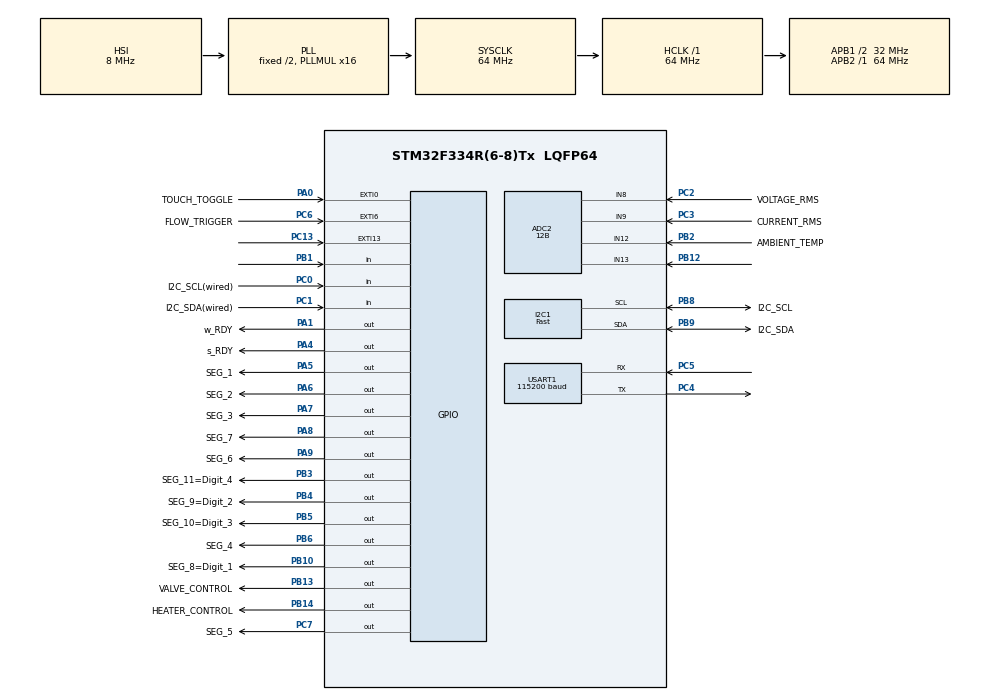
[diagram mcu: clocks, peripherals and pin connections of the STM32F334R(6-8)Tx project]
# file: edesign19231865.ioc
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ADC2.Channel-0\#ChannelRegularConversion=ADC_CHANNEL_8
ADC2.Channel-7\#ChannelRegularConversion=ADC_CHANNEL_9
ADC2.Channel-8\#ChannelRegularConversion=ADC_CHANNEL_12
ADC2.Channel-9\#ChannelRegularConversion=ADC_CHANNEL_13
ADC2.ClockPrescaler=ADC_CLOCK_ASYNC_DIV1
ADC2.ContinuousConvMode=ENABLE
ADC2.DMAContinuousRequests=ENABLE
ADC2.DataAlign=ADC_DATAALIGN_RIGHT
ADC2.DiscontinuousConvMode=DISABLE
ADC2.EOCSelection=ADC_EOC_SINGLE_CONV
ADC2.EnableAnalogWatchDog1=false
ADC2.EnableAnalogWatchDog2=false
ADC2.EnableAnalogWatchDog3=false
ADC2.EnableInjectedConversion=ENABLE
ADC2.EnableRegularConversion=ENABLE
ADC2.ExternalTrigConv=ADC_SOFTWARE_START
ADC2.ExternalTrigConvEdge=ADC_EXTERNALTRIGCONVEDGE_NONE
ADC2.InjNumberOfConversion=0
ADC2.LowPowerAutoWait=DISABLE
ADC2.Mode=ADC_MODE_INDEPENDENT
ADC2.NbrOfConversion=4
ADC2.NbrOfConversionFlag=1
ADC2.Offset-0\#ChannelRegularConversion=0
ADC2.Offset-7\#ChannelRegularConversion=0
ADC2.Offset-8\#ChannelRegularConversion=0
ADC2.Offset-9\#ChannelRegularConversion=0
ADC2.OffsetNumber-0\#ChannelRegularConversion=ADC_OFFSET_NONE
ADC2.OffsetNumber-7\#ChannelRegularConversion=ADC_OFFSET_NONE
ADC2.OffsetNumber-8\#ChannelRegularConversion=ADC_OFFSET_NONE
ADC2.OffsetNumber-9\#ChannelRegularConversion=ADC_OFFSET_NONE
ADC2.Overrun=ADC_OVR_DATA_PRESERVED
ADC2.Rank-0\#ChannelRegularConversion=1
ADC2.Rank-7\#ChannelRegularConversion=2
ADC2.Rank-8\#ChannelRegularConversion=3
ADC2.Rank-9\#ChannelRegularConversion=4
ADC2.Resolution=ADC_RESOLUTION_12B
ADC2.SamplingTime-0\#ChannelRegularConversion=ADC_SAMPLETIME_181CYCLES_5
ADC2.SamplingTime-7\#ChannelRegularConversion=ADC_SAMPLETIME_181CYCLES_5
ADC2.SamplingTime-8\#ChannelRegularConversion=ADC_SAMPLETIME_181CYCLES_5
ADC2.SamplingTime-9\#ChannelRegularConversion=ADC_SAMPLETIME_181CYCLES_5
ADC2.ScanConvMode=ADC_SCAN_ENABLE
ADC2.SubFamily=STM32F334x8
Dma.ADC2.0.Direction=DMA_PERIPH_TO_MEMORY
Dma.ADC2.0.Instance=DMA1_Channel2
Dma.ADC2.0.MemDataAlignment=DMA_MDATAALIGN_WORD
Dma.ADC2.0.MemInc=DMA_MINC_ENABLE
Dma.ADC2.0.Mode=DMA_CIRCULAR
Dma.ADC2.0.PeriphDataAlignment=DMA_PDATAALIGN_WORD
Dma.ADC2.0.PeriphInc=DMA_PINC_DISABLE
Dma.ADC2.0.Priority=DMA_PRIORITY_LOW
Dma.Request0=ADC2
I2C1.I2C_Speed_Mode=I2C_Fast
I2C1.Timing=0x0000020B
Mcu.Family=STM32F3
Mcu.Name=STM32F334R(6-8)Tx
Mcu.Package=LQFP64
NVIC.DMA1_Channel2_IRQn=true\:0\:1\:false\:false\:true\:false
NVIC.EXTI0_IRQn=true\:0\:0\:false\:false\:true\:true
NVIC.EXTI9_5_IRQn=true\:0\:1\:false\:false\:true\:true
NVIC.I2C1_ER_IRQn=true\:0\:0\:false\:false\:true\:true
NVIC.I2C1_EV_IRQn=true\:0\:0\:false\:false\:true\:true
NVIC.PriorityGroup=NVIC_PRIORITYGROUP_0
NVIC.RTC_WKUP_IRQn=true\:0\:0\:false\:false\:true\:true
NVIC.USART1_IRQn=true\:0\:0\:false\:false\:true\:true
PA0.GPIO_Label=TOUCH_TOGGLE
PA0.GPIO_ModeDefaultEXTI=GPIO_MODE_IT_FALLING
PA0.GPIO_PuPd=GPIO_PULLDOWN
PA0.Signal=GPXTI0
PA1.GPIO_Label=w_RDY
PA1.GPIO_ModeDefaultOutputPP=GPIO_MODE_OUTPUT_OD
PA1.GPIO_PuPd=GPIO_PULLUP
PA1.PinState=GPIO_PIN_SET
PA1.Signal=GPIO_Output
PA13.Mode=Serial_Wire
PA13.Signal=SYS_JTMS-SWDIO
PA14.Mode=Serial_Wire
PA14.Signal=SYS_JTCK-SWCLK
PA4.GPIO_Label=s_RDY
PA4.GPIO_ModeDefaultOutputPP=GPIO_MODE_OUTPUT_OD
PA4.GPIO_PuPd=GPIO_PULLUP
PA4.PinState=GPIO_PIN_SET
PA4.Signal=GPIO_Output
PA5.GPIO_Label=SEG_1
PA5.Signal=GPIO_Output
PA6.GPIO_Label=SEG_2
PA6.Signal=GPIO_Output
PA7.GPIO_Label=SEG_3
PA7.Signal=GPIO_Output
PA8.GPIO_Label=SEG_7
PA8.Signal=GPIO_Output
PA9.GPIO_Label=SEG_6
PA9.Signal=GPIO_Output
PB1.Signal=GPIO_Input
PB10.GPIO_Label=SEG_8\=Digit_1
PB10.Signal=GPIO_Output
PB12.Mode=IN13-Single-Ended
PB12.Signal=ADC2_IN13
PB13.GPIO_Label=VALVE_CONTROL
PB13.Signal=GPIO_Output
PB14.GPIO_Label=HEATER_CONTROL
PB14.Signal=GPIO_Output
PB2.GPIO_Label=AMBIENT_TEMP
PB2.Mode=IN12-Single-Ended
PB2.Signal=ADC2_IN12
PB3.GPIO_Label=SEG_11\=Digit_4
PB3.Signal=GPIO_Output
PB4.GPIO_Label=SEG_9\=Digit_2
PB4.Signal=GPIO_Output
PB5.GPIO_Label=SEG_10\=Digit_3
PB5.Signal=GPIO_Output
PB6.GPIO_Label=SEG_4
PB6.Signal=GPIO_Output
PB8.GPIO_Label=I2C_SCL
PB8.GPIO_PuPdOD=GPIO_NOPULL
PB8.Mode=I2C
PB8.Signal=I2C1_SCL
PB9.GPIO_Label=I2C_SDA
PB9.GPIO_PuPdOD=GPIO_NOPULL
PB9.Mode=I2C
PB9.Signal=I2C1_SDA
PC0.GPIO_Label=I2C_SCL(wired)
PC0.Signal=GPIO_Input
PC1.GPIO_Label=I2C_SDA(wired)
PC1.Signal=GPIO_Input
PC13.GPIO_ModeDefaultEXTI=GPIO_MODE_IT_RISING
PC13.GPIO_PuPd=GPIO_NOPULL
PC13.Signal=GPXTI13
PC14\ /\ OSC32_IN.Mode=LSE-External-Oscillator
PC14\ /\ OSC32_IN.Signal=RCC_OSC32_IN
PC15\ /\ OSC32_OUT.Mode=LSE-External-Oscillator
PC15\ /\ OSC32_OUT.Signal=RCC_OSC32_OUT
PC2.GPIO_Label=VOLTAGE_RMS
PC2.Signal=ADCx_IN8
PC3.GPIO_Label=CURRENT_RMS
PC3.Signal=ADCx_IN9
PC4.Mode=Asynchronous
PC4.Signal=USART1_TX
PC5.Mode=Asynchronous
PC5.Signal=USART1_RX
PC6.GPIO_Label=FLOW_TRIGGER
PC6.GPIO_ModeDefaultEXTI=GPIO_MODE_IT_RISING_FALLING
PC6.GPIO_PuPd=GPIO_PULLDOWN
PC6.Signal=GPXTI6
PC7.GPIO_Label=SEG_5
PC7.Signal=GPIO_Output
PF0\ /\ OSC_IN.Mode=HSE-External-Clock-Source
PF0\ /\ OSC_IN.Signal=RCC_OSC_IN
PF1\ /\ OSC_OUT.Signal=RCC_OSC_OUT
ProjectManager.HeapSize=0x200
ProjectManager.StackSize=0x400
ProjectManager.TargetToolchain=TrueSTUDIO
RCC.ADC12PRES=RCC_ADC12PLLCLK_DIV256
RCC.AHBFreq_Value=64000000
RCC.APB1CLKDivider=RCC_HCLK_DIV2
RCC.APB1Freq_Value=32000000
RCC.APB1TimFreq_Value=64000000
RCC.APB2Freq_Value=64000000
RCC.APB2TimFreq_Value=64000000
RCC.CortexFreq_Value=64000000
RCC.FLatency-AdvancedSettings=FLASH_LATENCY_2
RCC.HCLKFreq_Value=64000000
RCC.HSE_VALUE=8000000
RCC.HSI_VALUE=8000000
RCC.PLLMUL=RCC_PLL_MUL16
RCC.RTCClockSelection=RCC_RTCCLKSOURCE_LSE
RCC.SYSCLKFreq_VALUE=64000000
RCC.SYSCLKSourceVirtual=RCC_SYSCLKSOURCE_PLLCLK
RTC.WakeUpCounter-WakeUp=2048
SH.ADCx_IN8.0=ADC2_IN8,IN8-Single-Ended
SH.ADCx_IN9.0=ADC2_IN9,IN9-Single-Ended
USART1.BaudRate=115200
USART1.VirtualMode-Asynchronous=VM_ASYNC
USART1.WordLength=WORDLENGTH_8B
VP_RTC_VS_RTC_Activate.Mode=RTC_Enabled
VP_RTC_VS_RTC_Calendar.Mode=RTC_Calendar
VP_RTC_VS_RTC_WakeUp_intern.Mode=WakeUp
board=NUCLEO-F334R8

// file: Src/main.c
/**
  ******************************************************************************
  * @file           : main.c
  * @brief          : Main program body
  ******************************************************************************
  ** This notice applies to any and all portions of this file
  * that are not between comment pairs USER CODE BEGIN and
  * USER CODE END. Other portions of this file, whether
  * inserted by the user or by software development tools
  * are owned by their respective copyright owners.
  *
  * COPYRIGHT(c) 2018 STMicroelectronics
  *
  * Redistribution and use in source and binary forms, with or without modification,
  * are permitted provided that the following conditions are met:
  *   1. Redistributions of source code must retain the above copyright notice,
  *      this list of conditions and the following disclaimer.
  *   2. Redistributions in binary form must reproduce the above copyright notice,
  *      this list of conditions and the following disclaimer in the documentation
  *      and/or other materials provided with the distribution.
  *   3. Neither the name of STMicroelectronics nor the names of its contributors
  *      may be used to endorse or promote products derived from this software
  *      without specific prior written permission.
  *
  * THIS SOFTWARE IS PROVIDED BY THE COPYRIGHT HOLDERS AND CONTRIBUTORS "AS IS"
  * AND ANY EXPRESS OR IMPLIED WARRANTIES, INCLUDING, BUT NOT LIMITED TO, THE
  * IMPLIED WARRANTIES OF MERCHANTABILITY AND FITNESS FOR A PARTICULAR PURPOSE ARE
  * DISCLAIMED. IN NO EVENT SHALL THE COPYRIGHT HOLDER OR CONTRIBUTORS BE LIABLE
  * FOR ANY DIRECT, INDIRECT, INCIDENTAL, SPECIAL, EXEMPLARY, OR CONSEQUENTIAL
  * DAMAGES (INCLUDING, BUT NOT LIMITED TO, PROCUREMENT OF SUBSTITUTE GOODS OR
  * SERVICES; LOSS OF USE, DATA, OR PROFITS; OR BUSINESS INTERRUPTION) HOWEVER
  * CAUSED AND ON ANY THEORY OF LIABILITY, WHETHER IN CONTRACT, STRICT LIABILITY,
  * OR TORT (INCLUDING NEGLIGENCE OR OTHERWISE) ARISING IN ANY WAY OUT OF THE USE
  * OF THIS SOFTWARE, EVEN IF ADVISED OF THE POSSIBILITY OF SUCH DAMAGE.
  *
  ******************************************************************************
  */
#include "main.h"
#include "stm32f3xx_hal.h"

/* USER CODE BEGIN Includes */
//#include <stdlib.h>
//#include "functions.h"
#include "functions.h"
#include "variables.h"
/* USER CODE END Includes */

ADC_HandleTypeDef hadc2;
DMA_HandleTypeDef hdma_adc2;

I2C_HandleTypeDef hi2c1;

RTC_HandleTypeDef hrtc;

UART_HandleTypeDef huart1;

/* USER CODE BEGIN PV */
/* Private variables ---------------------------------------------------------*/
ADC_ChannelConfTypeDef Channel_1;
ADC_ChannelConfTypeDef Channel_2;
ADC_ChannelConfTypeDef Channel_3;
ADC_ChannelConfTypeDef Channel_4;
extern uint32_t uwTick;

/* USER CODE END PV */

void SystemClock_Config(void);
static void MX_GPIO_Init(void);
static void MX_DMA_Init(void);
static void MX_USART1_UART_Init(void);
static void MX_ADC2_Init(void);
static void MX_RTC_Init(void);
static void MX_I2C1_Init(void);

/* USER CODE BEGIN PFP */
/* Private function prototypes -----------------------------------------------*/

/* USER CODE END PFP */

/* USER CODE BEGIN 0 */

//uint8_t* tim = (uint8_t) malloc(4);
/* USER CODE END 0 */

int main(void)
{
  /* USER CODE BEGIN 1 */
//	HAL_StatusTypeDef result;
  /* USER CODE END 1 */

  /* MCU Configuration----------------------------------------------------------*/

  /* Reset of all peripherals, Initializes the Flash interface and the Systick. */
  HAL_Init();

  /* Configure the system clock */
  SystemClock_Config();

  /* Initialize all configured peripherals */
  MX_GPIO_Init();
  MX_DMA_Init();
  MX_USART1_UART_Init();
  MX_ADC2_Init();
  MX_RTC_Init();
  MX_I2C1_Init();
  /* USER CODE BEGIN 2 */
  int erase_flash = 1;
  HAL_ADCEx_Calibration_Start(&hadc2, ADC_SINGLE_ENDED);

  init_peripherals();
  HAL_UART_Receive_IT(&huart1, (uint8_t*)&rx_buffer, 1);
 HAL_ADC_Start_DMA(&hadc2, ADC1_buffer, 4);

 if(erase_flash==0){
	HAL_FLASH_Unlock();
	pEraseInit->NbPages = 5;
	pEraseInit->PageAddress = (uint32_t)(0x08009000);
	pEraseInit->TypeErase = (uint32_t)FLASH_TYPEERASE_PAGES;

	HAL_FLASHEx_Erase(pEraseInit,flash_error);
	HAL_FLASH_Lock();
 }
 	 HAL_RTC_GetTime(&hrtc,timeOfRTC,RTC_FORMAT_BIN);
 	 HAL_RTC_GetDate(&hrtc,date,RTC_FORMAT_BIN);

//  int i2c_state = init_iqs263();
  logPosition();

  /* USER CODE END 2 */

  /* Infinite loop */
  while (1)
  {

  /* USER CODE BEGIN 3 */
	  mainLoop();
  }
  /* USER CODE END 3 */

}

void SystemClock_Config(void)
{

  RCC_OscInitTypeDef RCC_OscInitStruct;
  RCC_ClkInitTypeDef RCC_ClkInitStruct;
  RCC_PeriphCLKInitTypeDef PeriphClkInit;

    /**Configure LSE Drive Capability
    */
  HAL_PWR_EnableBkUpAccess();

  __HAL_RCC_LSEDRIVE_CONFIG(RCC_LSEDRIVE_LOW);

    /**Initializes the CPU, AHB and APB busses clocks
    */
  RCC_OscInitStruct.OscillatorType = RCC_OSCILLATORTYPE_HSI|RCC_OSCILLATORTYPE_LSE;
  RCC_OscInitStruct.LSEState = RCC_LSE_ON;
  RCC_OscInitStruct.HSIState = RCC_HSI_ON;
  RCC_OscInitStruct.HSICalibrationValue = 16;
  RCC_OscInitStruct.PLL.PLLState = RCC_PLL_ON;
  RCC_OscInitStruct.PLL.PLLSource = RCC_PLLSOURCE_HSI;
  RCC_OscInitStruct.PLL.PLLMUL = RCC_PLL_MUL16;
  if (HAL_RCC_OscConfig(&RCC_OscInitStruct) != HAL_OK)
  {
    _Error_Handler(__FILE__, __LINE__);
  }

    /**Initializes the CPU, AHB and APB busses clocks
    */
  RCC_ClkInitStruct.ClockType = RCC_CLOCKTYPE_HCLK|RCC_CLOCKTYPE_SYSCLK
                              |RCC_CLOCKTYPE_PCLK1|RCC_CLOCKTYPE_PCLK2;
  RCC_ClkInitStruct.SYSCLKSource = RCC_SYSCLKSOURCE_PLLCLK;
  RCC_ClkInitStruct.AHBCLKDivider = RCC_SYSCLK_DIV1;
  RCC_ClkInitStruct.APB1CLKDivider = RCC_HCLK_DIV2;
  RCC_ClkInitStruct.APB2CLKDivider = RCC_HCLK_DIV1;

  if (HAL_RCC_ClockConfig(&RCC_ClkInitStruct, FLASH_LATENCY_2) != HAL_OK)
  {
    _Error_Handler(__FILE__, __LINE__);
  }

  PeriphClkInit.PeriphClockSelection = RCC_PERIPHCLK_USART1|RCC_PERIPHCLK_I2C1
                              |RCC_PERIPHCLK_RTC|RCC_PERIPHCLK_ADC12;
  PeriphClkInit.Usart1ClockSelection = RCC_USART1CLKSOURCE_PCLK1;
  PeriphClkInit.Adc12ClockSelection = RCC_ADC12PLLCLK_DIV256;
  PeriphClkInit.I2c1ClockSelection = RCC_I2C1CLKSOURCE_HSI;
  PeriphClkInit.RTCClockSelection = RCC_RTCCLKSOURCE_LSE;
  if (HAL_RCCEx_PeriphCLKConfig(&PeriphClkInit) != HAL_OK)
  {
    _Error_Handler(__FILE__, __LINE__);
  }

    /**Configure the Systick interrupt time
    */
  HAL_SYSTICK_Config(HAL_RCC_GetHCLKFreq()/1000);

    /**Configure the Systick
    */
  HAL_SYSTICK_CLKSourceConfig(SYSTICK_CLKSOURCE_HCLK);

  /* SysTick_IRQn interrupt configuration */
  HAL_NVIC_SetPriority(SysTick_IRQn, 0, 2);
}

/* ADC2 init function */
static void MX_ADC2_Init(void)
{

  ADC_ChannelConfTypeDef sConfig;

    /**Common config
    */
  hadc2.Instance = ADC2;
  hadc2.Init.ClockPrescaler = ADC_CLOCK_ASYNC_DIV1;
  hadc2.Init.Resolution = ADC_RESOLUTION_12B;
  hadc2.Init.ScanConvMode = ADC_SCAN_ENABLE;
  hadc2.Init.ContinuousConvMode = ENABLE;
  hadc2.Init.DiscontinuousConvMode = DISABLE;
  hadc2.Init.ExternalTrigConvEdge = ADC_EXTERNALTRIGCONVEDGE_NONE;
  hadc2.Init.ExternalTrigConv = ADC_SOFTWARE_START;
  hadc2.Init.DataAlign = ADC_DATAALIGN_RIGHT;
  hadc2.Init.NbrOfConversion = 4;
  hadc2.Init.DMAContinuousRequests = ENABLE;
  hadc2.Init.EOCSelection = ADC_EOC_SINGLE_CONV;
  hadc2.Init.LowPowerAutoWait = DISABLE;
  hadc2.Init.Overrun = ADC_OVR_DATA_PRESERVED;
  if (HAL_ADC_Init(&hadc2) != HAL_OK)
  {
    _Error_Handler(__FILE__, __LINE__);
  }

    /**Configure Regular Channel
    */
  sConfig.Channel = ADC_CHANNEL_8;
  sConfig.Rank = ADC_REGULAR_RANK_1;
  sConfig.SingleDiff = ADC_SINGLE_ENDED;
  sConfig.SamplingTime = ADC_SAMPLETIME_181CYCLES_5;
  sConfig.OffsetNumber = ADC_OFFSET_NONE;
  sConfig.Offset = 0;
  if (HAL_ADC_ConfigChannel(&hadc2, &sConfig) != HAL_OK)
  {
    _Error_Handler(__FILE__, __LINE__);
  }

    /**Configure Regular Channel
    */
  sConfig.Channel = ADC_CHANNEL_9;
  sConfig.Rank = ADC_REGULAR_RANK_2;
  if (HAL_ADC_ConfigChannel(&hadc2, &sConfig) != HAL_OK)
  {
    _Error_Handler(__FILE__, __LINE__);
  }

    /**Configure Regular Channel
    */
  sConfig.Channel = ADC_CHANNEL_12;
  sConfig.Rank = ADC_REGULAR_RANK_3;
  if (HAL_ADC_ConfigChannel(&hadc2, &sConfig) != HAL_OK)
  {
    _Error_Handler(__FILE__, __LINE__);
  }

    /**Configure Regular Channel
    */
  sConfig.Channel = ADC_CHANNEL_13;
  sConfig.Rank = ADC_REGULAR_RANK_4;
  if (HAL_ADC_ConfigChannel(&hadc2, &sConfig) != HAL_OK)
  {
    _Error_Handler(__FILE__, __LINE__);
  }

}

/* I2C1 init function */
static void MX_I2C1_Init(void)
{

  hi2c1.Instance = I2C1;
  hi2c1.Init.Timing = 0x0000020B;
  hi2c1.Init.OwnAddress1 = 0;
  hi2c1.Init.AddressingMode = I2C_ADDRESSINGMODE_7BIT;
  hi2c1.Init.DualAddressMode = I2C_DUALADDRESS_DISABLE;
  hi2c1.Init.OwnAddress2 = 0;
  hi2c1.Init.OwnAddress2Masks = I2C_OA2_NOMASK;
  hi2c1.Init.GeneralCallMode = I2C_GENERALCALL_DISABLE;
  hi2c1.Init.NoStretchMode = I2C_NOSTRETCH_DISABLE;
  if (HAL_I2C_Init(&hi2c1) != HAL_OK)
  {
    _Error_Handler(__FILE__, __LINE__);
  }

    /**Configure Analogue filter
    */
  if (HAL_I2CEx_ConfigAnalogFilter(&hi2c1, I2C_ANALOGFILTER_ENABLE) != HAL_OK)
  {
    _Error_Handler(__FILE__, __LINE__);
  }

    /**Configure Digital filter
    */
  if (HAL_I2CEx_ConfigDigitalFilter(&hi2c1, 0) != HAL_OK)
  {
    _Error_Handler(__FILE__, __LINE__);
  }

}

/* RTC init function */
static void MX_RTC_Init(void)
{

  RTC_TimeTypeDef sTime;
  RTC_DateTypeDef sDate;

    /**Initialize RTC Only
    */
  hrtc.Instance = RTC;
if(HAL_RTCEx_BKUPRead(&hrtc, RTC_BKP_DR0) != 0x32F2){
  hrtc.Init.HourFormat = RTC_HOURFORMAT_24;
  hrtc.Init.AsynchPrediv = 127;
  hrtc.Init.SynchPrediv = 255;
  hrtc.Init.OutPut = RTC_OUTPUT_DISABLE;
  hrtc.Init.OutPutPolarity = RTC_OUTPUT_POLARITY_HIGH;
  hrtc.Init.OutPutType = RTC_OUTPUT_TYPE_OPENDRAIN;
  if (HAL_RTC_Init(&hrtc) != HAL_OK)
  {
    _Error_Handler(__FILE__, __LINE__);
  }

    /**Initialize RTC and set the Time and Date
    */
  sTime.Hours = 0x0;
  sTime.Minutes = 0x0;
  sTime.Seconds = 0x0;
  sTime.DayLightSaving = RTC_DAYLIGHTSAVING_NONE;
  sTime.StoreOperation = RTC_STOREOPERATION_RESET;
  if (HAL_RTC_SetTime(&hrtc, &sTime, RTC_FORMAT_BCD) != HAL_OK)
  {
    _Error_Handler(__FILE__, __LINE__);
  }

  sDate.WeekDay = RTC_WEEKDAY_MONDAY;
  sDate.Month = RTC_MONTH_JANUARY;
  sDate.Date = 0x1;
  sDate.Year = 0x0;

  if (HAL_RTC_SetDate(&hrtc, &sDate, RTC_FORMAT_BCD) != HAL_OK)
  {
    _Error_Handler(__FILE__, __LINE__);
  }

    /**Enable the WakeUp
    */
  if (HAL_RTCEx_SetWakeUpTimer_IT(&hrtc, 2048, RTC_WAKEUPCLOCK_RTCCLK_DIV16) != HAL_OK)
  {
    _Error_Handler(__FILE__, __LINE__);
  }

    HAL_RTCEx_BKUPWrite(&hrtc,RTC_BKP_DR0,0x32F2);
  }

}

/* USART1 init function */
static void MX_USART1_UART_Init(void)
{

  huart1.Instance = USART1;
  huart1.Init.BaudRate = 115200;
  huart1.Init.WordLength = UART_WORDLENGTH_8B;
  huart1.Init.StopBits = UART_STOPBITS_1;
  huart1.Init.Parity = UART_PARITY_NONE;
  huart1.Init.Mode = UART_MODE_TX_RX;
  huart1.Init.HwFlowCtl = UART_HWCONTROL_NONE;
  huart1.Init.OverSampling = UART_OVERSAMPLING_16;
  huart1.Init.OneBitSampling = UART_ONE_BIT_SAMPLE_DISABLE;
  huart1.AdvancedInit.AdvFeatureInit = UART_ADVFEATURE_NO_INIT;
  if (HAL_UART_Init(&huart1) != HAL_OK)
  {
    _Error_Handler(__FILE__, __LINE__);
  }

}

static void MX_DMA_Init(void)
{
  /* DMA controller clock enable */
  __HAL_RCC_DMA1_CLK_ENABLE();

  /* DMA interrupt init */
  /* DMA1_Channel2_IRQn interrupt configuration */
  HAL_NVIC_SetPriority(DMA1_Channel2_IRQn, 0, 1);
  HAL_NVIC_EnableIRQ(DMA1_Channel2_IRQn);

}

/** Configure pins as
        * Analog
        * Input
        * Output
        * EVENT_OUT
        * EXTI
*/
static void MX_GPIO_Init(void)
{

  GPIO_InitTypeDef GPIO_InitStruct;

  /* GPIO Ports Clock Enable */
  __HAL_RCC_GPIOC_CLK_ENABLE();
  __HAL_RCC_GPIOF_CLK_ENABLE();
  __HAL_RCC_GPIOA_CLK_ENABLE();
  __HAL_RCC_GPIOB_CLK_ENABLE();

  /*Configure GPIO pin Output Level */
  HAL_GPIO_WritePin(GPIOA, w_RDY_Pin|s_RDY_Pin, GPIO_PIN_SET);

  /*Configure GPIO pin Output Level */
  HAL_GPIO_WritePin(GPIOA, SEG_1_Pin|SEG_2_Pin|SEG_3_Pin|SEG_7_Pin
                          |SEG_6_Pin, GPIO_PIN_RESET);

  /*Configure GPIO pin Output Level */
  HAL_GPIO_WritePin(GPIOB, SEG_8_Digit_1_Pin|VALVE_CONTROL_Pin|HEATER_CONTROL_Pin|SEG_11_Digit_4_Pin
                          |SEG_9_Digit_2_Pin|SEG_10_Digit_3_Pin|SEG_4_Pin, GPIO_PIN_RESET);

  /*Configure GPIO pin Output Level */
  HAL_GPIO_WritePin(SEG_5_GPIO_Port, SEG_5_Pin, GPIO_PIN_RESET);

  /*Configure GPIO pin : PC13 */
  GPIO_InitStruct.Pin = GPIO_PIN_13;
  GPIO_InitStruct.Mode = GPIO_MODE_IT_RISING;
  GPIO_InitStruct.Pull = GPIO_NOPULL;
  HAL_GPIO_Init(GPIOC, &GPIO_InitStruct);

  /*Configure GPIO pins : I2C_SCL_Pin I2C_SDA_Pin */
  GPIO_InitStruct.Pin = I2C_SCL_Pin|I2C_SDA_Pin;
  GPIO_InitStruct.Mode = GPIO_MODE_INPUT;
  GPIO_InitStruct.Pull = GPIO_NOPULL;
  HAL_GPIO_Init(GPIOC, &GPIO_InitStruct);

  /*Configure GPIO pin : TOUCH_TOGGLE_Pin */
  GPIO_InitStruct.Pin = TOUCH_TOGGLE_Pin;
  GPIO_InitStruct.Mode = GPIO_MODE_IT_FALLING;
  GPIO_InitStruct.Pull = GPIO_PULLDOWN;
  HAL_GPIO_Init(TOUCH_TOGGLE_GPIO_Port, &GPIO_InitStruct);

  /*Configure GPIO pins : w_RDY_Pin s_RDY_Pin */
  GPIO_InitStruct.Pin = w_RDY_Pin|s_RDY_Pin;
  GPIO_InitStruct.Mode = GPIO_MODE_OUTPUT_OD;
  GPIO_InitStruct.Pull = GPIO_PULLUP;
  GPIO_InitStruct.Speed = GPIO_SPEED_FREQ_LOW;
  HAL_GPIO_Init(GPIOA, &GPIO_InitStruct);

  /*Configure GPIO pins : SEG_1_Pin SEG_2_Pin SEG_3_Pin SEG_7_Pin
                           SEG_6_Pin */
  GPIO_InitStruct.Pin = SEG_1_Pin|SEG_2_Pin|SEG_3_Pin|SEG_7_Pin
                          |SEG_6_Pin;
  GPIO_InitStruct.Mode = GPIO_MODE_OUTPUT_PP;
  GPIO_InitStruct.Pull = GPIO_NOPULL;
  GPIO_InitStruct.Speed = GPIO_SPEED_FREQ_LOW;
  HAL_GPIO_Init(GPIOA, &GPIO_InitStruct);

  /*Configure GPIO pin : PB1 */
  GPIO_InitStruct.Pin = GPIO_PIN_1;
  GPIO_InitStruct.Mode = GPIO_MODE_INPUT;
  GPIO_InitStruct.Pull = GPIO_NOPULL;
  HAL_GPIO_Init(GPIOB, &GPIO_InitStruct);

  /*Configure GPIO pins : SEG_8_Digit_1_Pin VALVE_CONTROL_Pin HEATER_CONTROL_Pin SEG_11_Digit_4_Pin
                           SEG_9_Digit_2_Pin SEG_10_Digit_3_Pin SEG_4_Pin */
  GPIO_InitStruct.Pin = SEG_8_Digit_1_Pin|VALVE_CONTROL_Pin|HEATER_CONTROL_Pin|SEG_11_Digit_4_Pin
                          |SEG_9_Digit_2_Pin|SEG_10_Digit_3_Pin|SEG_4_Pin;
  GPIO_InitStruct.Mode = GPIO_MODE_OUTPUT_PP;
  GPIO_InitStruct.Pull = GPIO_NOPULL;
  GPIO_InitStruct.Speed = GPIO_SPEED_FREQ_LOW;
  HAL_GPIO_Init(GPIOB, &GPIO_InitStruct);

  /*Configure GPIO pin : FLOW_TRIGGER_Pin */
  GPIO_InitStruct.Pin = FLOW_TRIGGER_Pin;
  GPIO_InitStruct.Mode = GPIO_MODE_IT_RISING_FALLING;
  GPIO_InitStruct.Pull = GPIO_PULLDOWN;
  HAL_GPIO_Init(FLOW_TRIGGER_GPIO_Port, &GPIO_InitStruct);

  /*Configure GPIO pin : SEG_5_Pin */
  GPIO_InitStruct.Pin = SEG_5_Pin;
  GPIO_InitStruct.Mode = GPIO_MODE_OUTPUT_PP;
  GPIO_InitStruct.Pull = GPIO_NOPULL;
  GPIO_InitStruct.Speed = GPIO_SPEED_FREQ_LOW;
  HAL_GPIO_Init(SEG_5_GPIO_Port, &GPIO_InitStruct);

  /* EXTI interrupt init*/
  HAL_NVIC_SetPriority(EXTI0_IRQn, 0, 0);
  HAL_NVIC_EnableIRQ(EXTI0_IRQn);

  HAL_NVIC_SetPriority(EXTI9_5_IRQn, 0, 1);
  HAL_NVIC_EnableIRQ(EXTI9_5_IRQn);

}

void _Error_Handler(char *file, int line)
{
  while(1)
  {
  }
}

/************************ (C) COPYRIGHT STMicroelectronics *****END OF FILE****/
